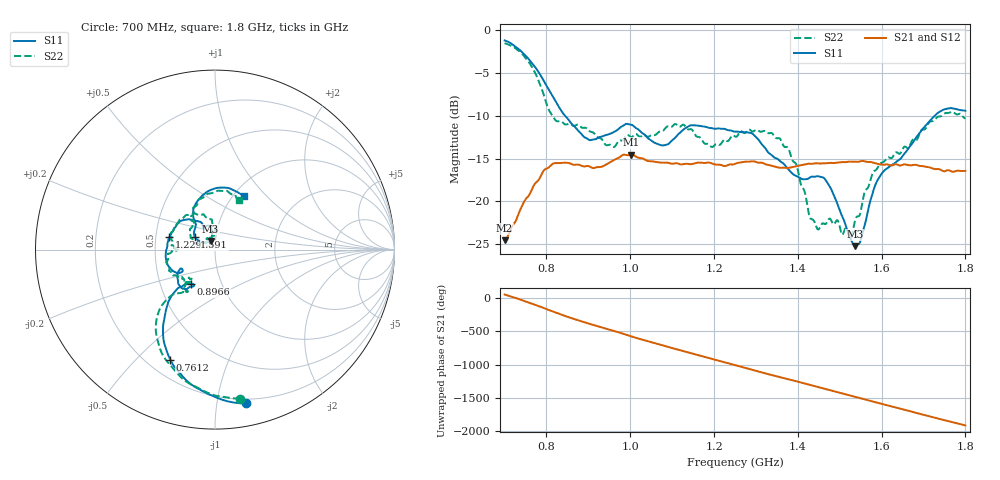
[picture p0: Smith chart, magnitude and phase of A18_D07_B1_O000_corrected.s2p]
! Created with skrf 1.9.0 (http://scikit-rf.org).
# Hz S RI R 50.0
!freq ReS11 ImS11 ReS21 ImS21 ReS12 ImS12 ReS22 ImS22
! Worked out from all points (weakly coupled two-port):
!   1601 points, 700 MHz to 1.8 GHz, reference 50 ohm
!   highest |S21| = -14.53 dB at 1.002 GHz (marker M1); lowest = -24.6 dB at 700 MHz (marker M2)
!   lowest |S11| = -25.3 dB at 1.536 GHz (marker M3), VSWR 1.12, Z = 47.4 + j4.62 ohm
!   |S11| at or under -10 dB: 844.5 MHz to 1.727 GHz (882.1 MHz wide, 68.6 % of centre)
!   |S22| runs from -24.4 to -1.5 dB; largest |S21 - S12| = 0.0035
!   S11 on the Smith chart (normalised r, x): 700 MHz: 0.17, -1.21; 761.2 MHz: 0.29, -0.63; 896.6 MHz: 0.72, -0.29; 1.229 GHz: 0.59, +0.09; 1.591 GHz: 0.79, +0.11; 1.8 GHz: 1.12, +0.75
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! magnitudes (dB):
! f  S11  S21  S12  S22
! 700 MHz  -1.2  -24.6  -24.3  -1.5
! 761.2 MHz  -3.6  -19.0  -18.9  -3.9
! 819.6 MHz  -8.1  -15.5  -15.6  -10.4
! 883.6 MHz  -12.1  -15.8  -15.7  -11.4
! 896.6 MHz  -12.7  -15.9  -16.0  -11.5
! 959.2 MHz  -11.9  -15.2  -15.2  -13.6
! 1.002 GHz  -11.0  -14.5  -14.6  -12.5
! 1.067 GHz  -13.3  -15.5  -15.4  -11.9
! 1.145 GHz  -11.1  -15.7  -15.7  -11.6
! 1.229 GHz  -11.6  -15.9  -15.8  -12.9
! 1.25 GHz  -11.9  -15.6  -15.6  -12.4
! 1.357 GHz  -15.3  -16.1  -16.0  -12.7
! 1.396 GHz  -17.0  -15.9  -15.9  -15.6
! 1.434 GHz  -17.1  -15.6  -15.6  -22.1
! 1.472 GHz  -17.9  -15.5  -15.5  -22.2
! 1.525 GHz  -24.3  -15.4  -15.4  -24.3
! 1.536 GHz  -25.3  -15.4  -15.4  -22.4
! 1.55 GHz  -24.6  -15.3  -15.3  -21.3
! 1.591 GHz  -17.5  -15.6  -15.6  -16.0
! 1.617 GHz  -16.0  -15.7  -15.7  -14.9
! 1.735 GHz  -9.6  -16.2  -16.3  -10.1
! 1.8 GHz  -9.4  -16.4  -16.4  -10.3
